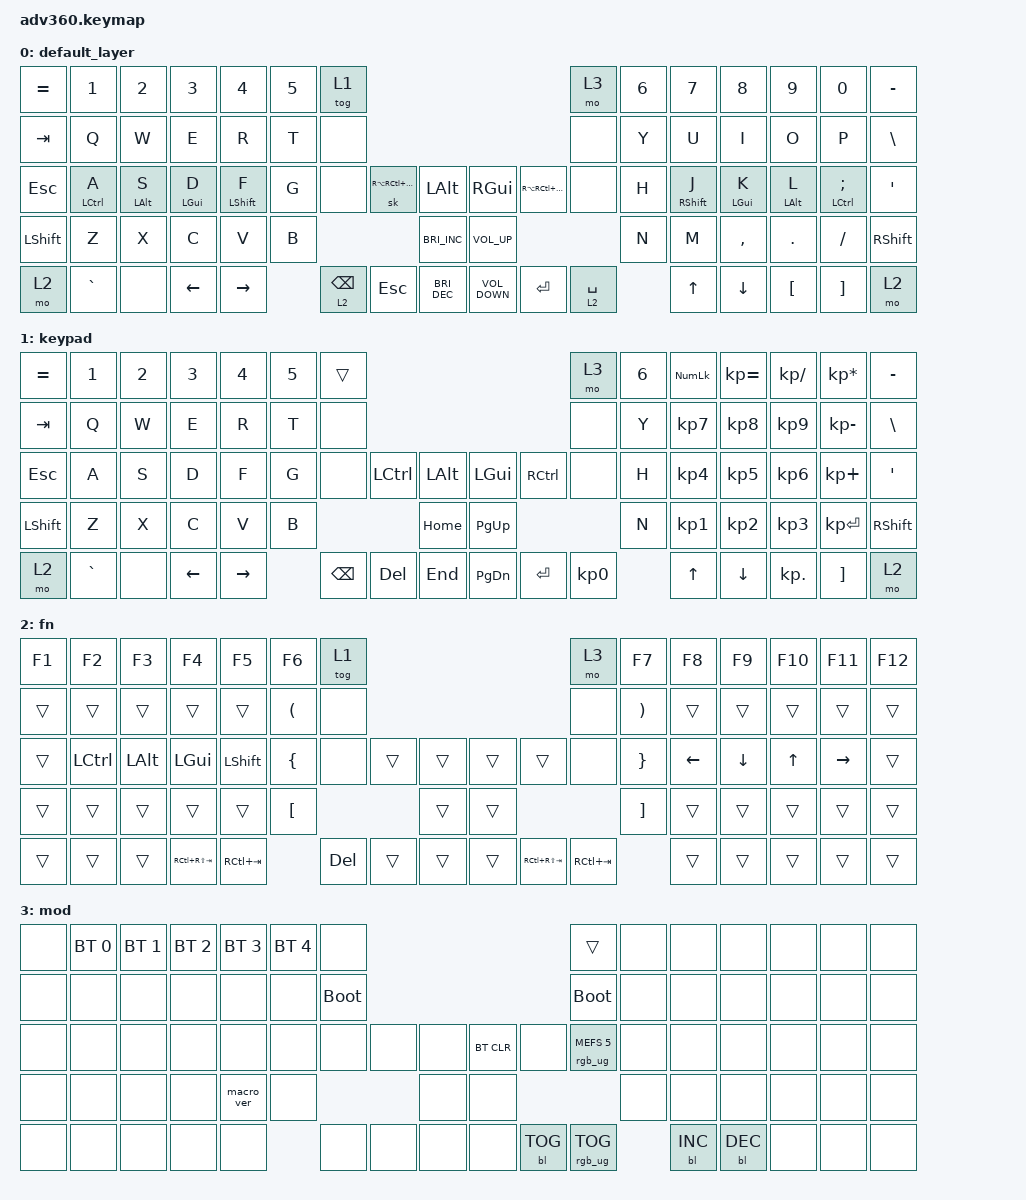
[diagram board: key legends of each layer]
#include <behaviors.dtsi>
#include <dt-bindings/zmk/backlight.h>
#include <dt-bindings/zmk/bt.h>
#include <dt-bindings/zmk/keys.h>
#include <dt-bindings/zmk/rgb.h>

/ {
    behaviors {
        #include "macros.dtsi"
      #include "version.dtsi"
      #ifndef VERSION_MACRO

        macro_ver: macro_ver {
            compatible = "zmk,behavior-macro";
            label = "macro_version";
            #binding-cells = <0>;
            bindings = <&kp RET>;
        };

        #endif

        hml: hml {
            compatible = "zmk,behavior-hold-tap";
            label = "HML";
            #binding-cells = <2>;
            tapping-term-ms = <200>;
            flavor = "tap-preferred";
            bindings = <&kp>, <&kp>;

            quick-tap-ms = <0>;
            hold-trigger-key-positions = <35 36 65 66 67 52 36 37 38 52 53 69 70 68 7 8 9 10 11 12 13 21 22 23 24 25 26 27 38 39 40 41 42 43 44 45 54 55 56 57 58 59 69 70 71 72 73 74 75>;
        };

        hmr: hmr {
            compatible = "zmk,behavior-hold-tap";
            label = "HMR";
            bindings = <&kp>, <&kp>;

            #binding-cells = <2>;
            tapping-term-ms = <200>;
            quick-tap-ms = <0>;
            flavor = "tap-preferred";
            hold-trigger-key-positions = <46 0 1 2 3 4 5 6 14 15 16 17 18 19 20 28 29 30 31 32 33 34 35 36 46 47 48 49 50 51 52 60 61 62 63 64 65 66 67 37 38 53 68 69 70>;
        };
    };

    macros {
    };

    keymap {
        compatible = "zmk,keymap";

        default_layer {
            bindings = <
&kp EQUAL  &kp N1               &kp N2       &kp N3       &kp N4             &kp N5  &tog 1                                                                                                &mo 3        &kp N6  &kp N7              &kp N8       &kp N9           &kp N0                  &kp MINUS
&kp TAB    &kp Q                &kp W        &kp E        &kp R              &kp T   &none                                                                                                 &none        &kp Y   &kp U               &kp I        &kp O            &kp P                   &kp BSLH
&kp ESC    &hml LEFT_CONTROL A  &hml LALT S  &hml LGUI D  &hml LEFT_SHIFT F  &kp G   &none            &sk RA(RC(LGUI))  &kp LALT                  &kp RGUI           &kp RA(RC(LEFT_GUI))  &none        &kp H   &hmr RIGHT_SHIFT J  &hmr LGUI K  &hmr LEFT_ALT L  &hmr LEFT_CONTROL SEMI  &kp SQT
&kp LSHFT  &kp Z                &kp X        &kp C        &kp V              &kp B                                      &kp C_BRIGHTNESS_INC      &kp C_VOLUME_UP                                       &kp N   &kp M               &kp COMMA    &kp DOT          &kp FSLH                &kp RSHFT
&mo 2      &kp GRAVE            &none        &kp LEFT     &kp RIGHT                  &lt 2 BACKSPACE  &kp ESC           &kp C_BRIGHTNESS_DEC      &kp C_VOLUME_DOWN  &kp ENTER             &lt 2 SPACE          &kp UP              &kp DOWN     &kp LBKT         &kp RBKT                &mo 2
            >;
        };

        keypad {
            bindings = <
&kp EQUAL  &kp N1     &kp N2  &kp N3    &kp N4     &kp N5  &trans                                                   &mo 3      &kp N6  &kp KP_NUM  &kp KP_EQUAL  &kp KP_DIVIDE  &kp KP_MULTIPLY  &kp MINUS
&kp TAB    &kp Q      &kp W   &kp E     &kp R      &kp T   &none                                                    &none      &kp Y   &kp KP_N7   &kp KP_N8     &kp KP_N9      &kp KP_MINUS     &kp BSLH
&kp ESC    &kp A      &kp S   &kp D     &kp F      &kp G   &none     &kp LCTRL  &kp LALT      &kp LGUI   &kp RCTRL  &none      &kp H   &kp KP_N4   &kp KP_N5     &kp KP_N6      &kp KP_PLUS      &kp SQT
&kp LSHFT  &kp Z      &kp X   &kp C     &kp V      &kp B                        &kp HOME      &kp PG_UP                        &kp N   &kp KP_N1   &kp KP_N2     &kp KP_N3      &kp KP_ENTER     &kp RSHFT
&mo 2      &kp GRAVE  &none   &kp LEFT  &kp RIGHT          &kp BSPC  &kp DEL    &kp END       &kp PG_DN  &kp ENTER  &kp KP_N0          &kp UP      &kp DOWN      &kp KP_DOT     &kp RBKT         &mo 2
            >;
        };

        fn {
            bindings = <
&kp F1  &kp F2            &kp F3        &kp F4           &kp F5          &kp F6                &tog 1                                                   &mo 3        &kp F7                 &kp F8    &kp F9    &kp F10       &kp F11    &kp F12
&trans  &trans            &trans        &trans           &trans          &kp LEFT_PARENTHESIS  &none                                                    &none        &kp RIGHT_PARENTHESIS  &trans    &trans    &trans        &trans     &trans
&trans  &kp LEFT_CONTROL  &kp LEFT_ALT  &kp LEFT_GUI     &kp LEFT_SHIFT  &kp LEFT_BRACE        &none       &trans  &trans      &trans  &trans           &none        &kp RIGHT_BRACE        &kp LEFT  &kp DOWN  &kp UP_ARROW  &kp RIGHT  &trans
&trans  &trans            &trans        &trans           &trans          &kp LEFT_BRACKET                          &trans      &trans                                &kp RIGHT_BRACKET      &trans    &trans    &trans        &trans     &trans
&trans  &trans            &trans        &kp RC(RS(TAB))  &kp RC(TAB)                           &kp DELETE  &trans  &trans      &trans  &kp RC(RS(TAB))  &kp RC(TAB)                         &trans    &trans    &trans        &trans     &trans
            >;
        };

        mod {
            bindings = <
&none  &bt BT_SEL 0  &bt BT_SEL 1  &bt BT_SEL 2  &bt BT_SEL 3  &bt BT_SEL 4  &none                                                  &trans                  &none  &none       &none       &none  &none  &none
&none  &none         &none         &none         &none         &none         &bootloader                                            &bootloader             &none  &none       &none       &none  &none  &none
&none  &none         &none         &none         &none         &none         &none        &none  &none      &bt BT_CLR  &none       &rgb_ug RGB_MEFS_CMD 5  &none  &none       &none       &none  &none  &none
&none  &none         &none         &none         &macro_ver    &none                             &none      &none                                           &none  &none       &none       &none  &none  &none
&none  &none         &none         &none         &none                       &none        &none  &none      &none       &bl BL_TOG  &rgb_ug RGB_TOG                &bl BL_INC  &bl BL_DEC  &none  &none  &none
            >;
        };
    };
};
